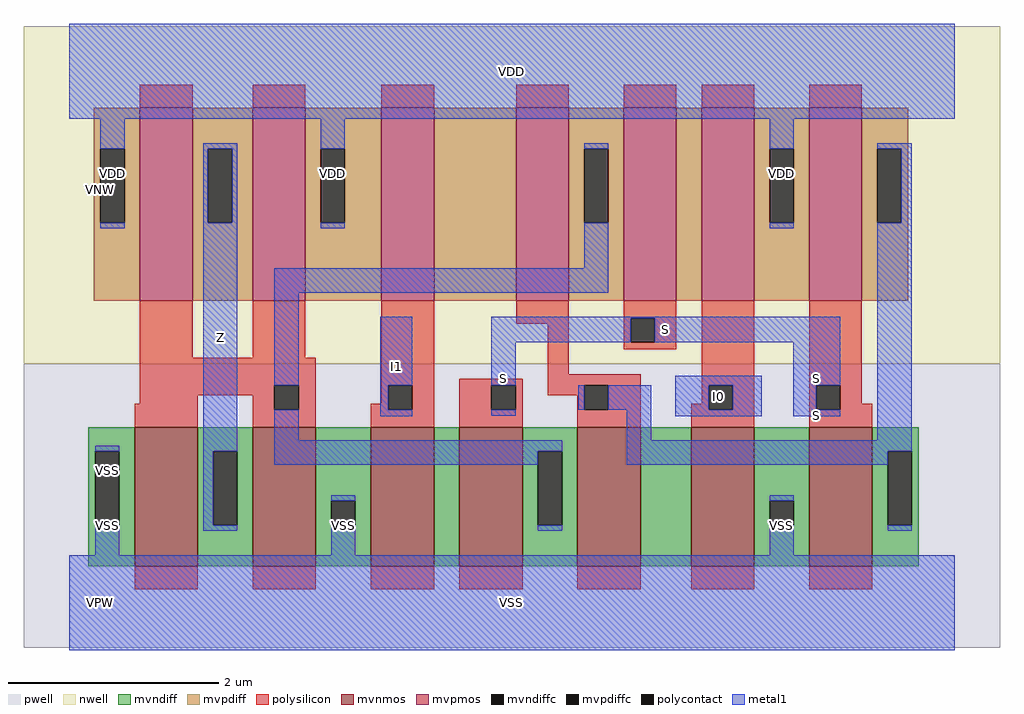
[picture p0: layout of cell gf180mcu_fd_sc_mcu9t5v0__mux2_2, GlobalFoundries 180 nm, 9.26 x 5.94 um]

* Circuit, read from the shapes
.subckt gf180mcu_fd_sc_mcu9t5v0__mux2_2 I0 I1 S Z VDD VNW VPW VSS
XM1 Z n1 VSS VPW nfet_06v0 w=1.32u l=0.6u m=2
XM2 n2 I1 VSS VPW nfet_06v0 w=1.32u l=0.6u
XM3 n1 S n2 VPW nfet_06v0 w=1.32u l=0.6u
XM4 n3 n4 n1 VPW nfet_06v0 w=1.32u l=0.6u
XM5 VSS I0 n3 VPW nfet_06v0 w=1.32u l=0.6u
XM6 n4 S VSS VPW nfet_06v0 w=1.32u l=0.6u
XM7 Z n1 VDD VNW pfet_06v0 w=1.83u l=0.5u m=2
XM8 n5 I1 VDD VNW pfet_06v0 w=1.83u l=0.5u
XM9 n1 n4 n5 VNW pfet_06v0 w=1.83u l=0.5u
XM10 n6 S n1 VNW pfet_06v0 w=1.83u l=0.5u
XM11 VDD I0 n6 VNW pfet_06v0 w=1.83u l=0.5u
XM12 n4 S VDD VNW pfet_06v0 w=1.83u l=0.5u
.ends

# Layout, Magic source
magic
tech gf180mcuD
magscale 1 10
<< nwell >>
rect -86 453 1766 1094
<< pwell >>
rect -86 -86 1766 453
<< mvnmos >>
rect 124 69 244 333
rect 348 69 468 333
rect 572 69 692 333
rect 740 69 860 333
rect 964 69 1084 333
rect 1180 69 1300 333
rect 1404 69 1524 333
<< mvpmos >>
rect 134 573 234 939
rect 348 573 448 939
rect 592 573 692 939
rect 848 573 948 939
rect 1052 573 1152 939
rect 1200 573 1300 939
rect 1404 573 1504 939
<< mvndiff >>
rect 36 287 124 333
rect 36 147 49 287
rect 95 147 124 287
rect 36 69 124 147
rect 244 287 348 333
rect 244 147 273 287
rect 319 147 348 287
rect 244 69 348 147
rect 468 193 572 333
rect 468 147 497 193
rect 543 147 572 193
rect 468 69 572 147
rect 692 69 740 333
rect 860 287 964 333
rect 860 147 889 287
rect 935 147 964 287
rect 860 69 964 147
rect 1084 69 1180 333
rect 1300 193 1404 333
rect 1300 147 1329 193
rect 1375 147 1404 193
rect 1300 69 1404 147
rect 1524 287 1612 333
rect 1524 147 1553 287
rect 1599 147 1612 287
rect 1524 69 1612 147
<< mvpdiff >>
rect 46 861 134 939
rect 46 721 59 861
rect 105 721 134 861
rect 46 573 134 721
rect 234 861 348 939
rect 234 721 263 861
rect 309 721 348 861
rect 234 573 348 721
rect 448 861 592 939
rect 448 721 477 861
rect 523 721 592 861
rect 448 573 592 721
rect 692 573 848 939
rect 948 861 1052 939
rect 948 721 977 861
rect 1023 721 1052 861
rect 948 573 1052 721
rect 1152 573 1200 939
rect 1300 861 1404 939
rect 1300 721 1329 861
rect 1375 721 1404 861
rect 1300 573 1404 721
rect 1504 861 1592 939
rect 1504 721 1533 861
rect 1579 721 1592 861
rect 1504 573 1592 721
<< mvndiffc >>
rect 49 147 95 287
rect 273 147 319 287
rect 497 147 543 193
rect 889 147 935 287
rect 1329 147 1375 193
rect 1553 147 1599 287
<< mvpdiffc >>
rect 59 721 105 861
rect 263 721 309 861
rect 477 721 523 861
rect 977 721 1023 861
rect 1329 721 1375 861
rect 1533 721 1579 861
<< polysilicon >>
rect 134 939 234 983
rect 348 939 448 983
rect 592 939 692 983
rect 848 939 948 983
rect 1052 939 1152 983
rect 1200 939 1300 983
rect 1404 939 1504 983
rect 134 465 234 573
rect 348 465 448 573
rect 134 412 468 465
rect 134 393 389 412
rect 134 377 244 393
rect 124 333 244 377
rect 348 366 389 393
rect 435 366 468 412
rect 592 412 692 573
rect 848 529 948 573
rect 908 433 948 529
rect 1052 540 1152 573
rect 1052 494 1065 540
rect 1111 494 1152 540
rect 1052 481 1152 494
rect 592 377 605 412
rect 348 333 468 366
rect 572 366 605 377
rect 651 366 692 412
rect 572 333 692 366
rect 740 412 860 425
rect 740 366 801 412
rect 847 366 860 412
rect 908 412 1084 433
rect 908 393 977 412
rect 740 333 860 366
rect 964 366 977 393
rect 1023 366 1084 412
rect 1200 412 1300 573
rect 1200 377 1213 412
rect 964 333 1084 366
rect 1180 366 1213 377
rect 1259 366 1300 412
rect 1180 333 1300 366
rect 1404 412 1504 573
rect 1404 366 1417 412
rect 1463 377 1504 412
rect 1463 366 1524 377
rect 1404 333 1524 366
rect 124 25 244 69
rect 348 25 468 69
rect 572 25 692 69
rect 740 25 860 69
rect 964 25 1084 69
rect 1180 25 1300 69
rect 1404 25 1524 69
<< polycontact >>
rect 389 366 435 412
rect 1065 494 1111 540
rect 605 366 651 412
rect 801 366 847 412
rect 977 366 1023 412
rect 1213 366 1259 412
rect 1417 366 1463 412
<< metal1 >>
rect 0 918 1680 1098
rect 59 861 105 918
rect 59 710 105 721
rect 254 861 319 872
rect 254 721 263 861
rect 309 721 319 861
rect 49 287 95 298
rect 49 90 95 147
rect 254 287 319 721
rect 477 861 523 918
rect 477 710 523 721
rect 977 861 1023 872
rect 977 634 1023 721
rect 1329 861 1375 918
rect 1329 710 1375 721
rect 1533 861 1599 872
rect 1579 721 1599 861
rect 254 147 273 287
rect 389 588 1023 634
rect 389 412 435 588
rect 389 308 435 366
rect 590 412 651 542
rect 590 366 605 412
rect 590 354 651 366
rect 801 540 1463 542
rect 801 494 1065 540
rect 1111 494 1463 540
rect 801 412 847 494
rect 1150 412 1314 430
rect 966 366 977 412
rect 1023 366 1104 412
rect 801 355 847 366
rect 1058 308 1104 366
rect 1150 366 1213 412
rect 1259 366 1314 412
rect 1150 354 1314 366
rect 1374 412 1463 494
rect 1374 366 1417 412
rect 1374 354 1463 366
rect 1533 308 1599 721
rect 389 287 935 308
rect 389 262 889 287
rect 254 136 319 147
rect 497 193 543 204
rect 497 90 543 147
rect 1058 287 1599 308
rect 1058 262 1553 287
rect 889 136 935 147
rect 1329 193 1375 204
rect 1329 90 1375 147
rect 1553 136 1599 147
rect 0 -90 1680 90
<< labels >>
flabel metal1 s 1150 354 1314 430 0 FreeSans 200 0 0 0 I0
port 1 nsew default input
flabel metal1 s 590 354 651 542 0 FreeSans 200 0 0 0 I1
port 2 nsew default input
flabel metal1 s 801 494 1463 542 0 FreeSans 200 0 0 0 S
port 3 nsew default input
flabel metal1 s 0 918 1680 1098 0 FreeSans 200 0 0 0 VDD
port 5 nsew power bidirectional abutment
flabel metal1 s 49 204 95 298 0 FreeSans 200 0 0 0 VSS
port 8 nsew ground bidirectional abutment
flabel metal1 s 254 136 319 872 0 FreeSans 200 0 0 0 Z
port 4 nsew default output
flabel nwell s 10 734 110 834 0 FreeSans 400 0 0 0 VNW
port 6 nsew power bidirectional
flabel pwell s 10 -50 110 50 0 FreeSans 400 0 0 0 VPW
port 7 nsew ground bidirectional
rlabel metal1 s 1374 355 1463 494 1 S
port 3 nsew default input
rlabel metal1 s 801 355 847 494 1 S
port 3 nsew default input
rlabel metal1 s 1374 354 1463 355 1 S
port 3 nsew default input
rlabel metal1 s 1329 710 1375 918 1 VDD
port 5 nsew power bidirectional abutment
rlabel metal1 s 477 710 523 918 1 VDD
port 5 nsew power bidirectional abutment
rlabel metal1 s 59 710 105 918 1 VDD
port 5 nsew power bidirectional abutment
rlabel metal1 s 1329 90 1375 204 1 VSS
port 8 nsew ground bidirectional abutment
rlabel metal1 s 497 90 543 204 1 VSS
port 8 nsew ground bidirectional abutment
rlabel metal1 s 49 90 95 204 1 VSS
port 8 nsew ground bidirectional abutment
rlabel metal1 s 0 -90 1680 90 1 VSS
port 8 nsew ground bidirectional abutment
<< properties >>
string FIXED_BBOX 0 0 1680 1008
string GDS_END 1078448
string GDS_FILE $PDKPATH/libs.ref/gf180mcu_fd_sc_mcu9t5v0/gds/gf180mcu_fd_sc_mcu9t5v0.gds
string GDS_START 1073678
string LEFclass core
string LEFsite GF018hv5v_green_sc9
string LEFsymmetry X Y
<< end >>
